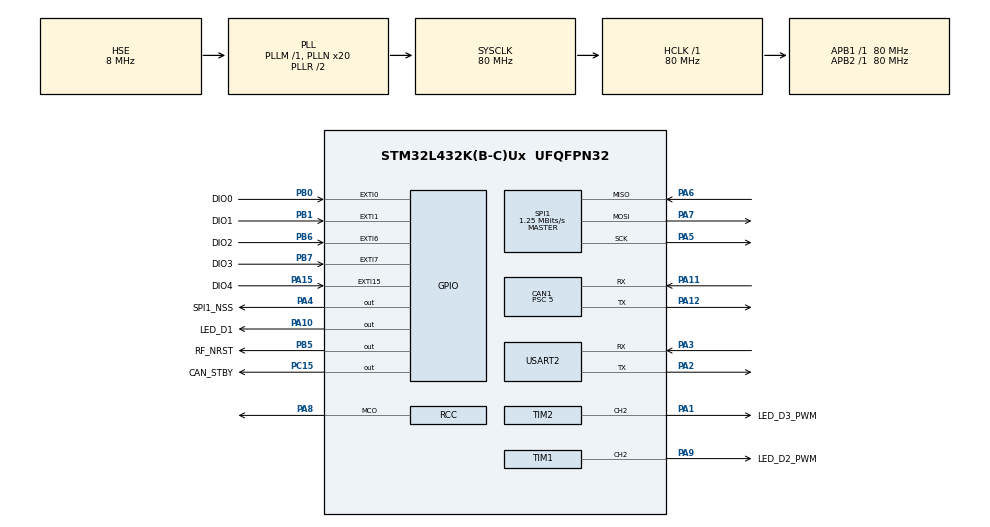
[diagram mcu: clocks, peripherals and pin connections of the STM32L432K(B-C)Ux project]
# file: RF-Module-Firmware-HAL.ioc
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CAN1.BS1=CAN_BS1_11TQ
CAN1.BS2=CAN_BS2_4TQ
CAN1.CalculateBaudRate=1000000
CAN1.CalculateTimeBit=1000
CAN1.CalculateTimeQuantum=62.5
CAN1.Mode=CAN_MODE_NORMAL
CAN1.Prescaler=5
FREERTOS.Tasks01=defaultTask,24,512,StartDefaultTask,Default,NULL,Dynamic,NULL,NULL;CanRxTask,25,256,StartCanRxTask,Default,NULL,Static,CanRxTaskBuffer,CanRxTaskControlBlock;CanRtrTask,26,256,StartCanRtrTask,Default,NULL,Static,CanRtrTaskBuffer,CanRtrTaskControlBlock
FREERTOS.configENABLE_FPU=1
FREERTOS.configUSE_NEWLIB_REENTRANT=1
Mcu.Family=STM32L4
Mcu.Name=STM32L432K(B-C)Ux
Mcu.Package=UFQFPN32
NVIC.PriorityGroup=NVIC_PRIORITYGROUP_4
NVIC.TIM1_UP_TIM16_IRQn=true\:15\:0\:false\:false\:true\:false\:false\:true\:true
NVIC.TimeBase=TIM1_UP_TIM16_IRQn
NVIC.TimeBaseIP=TIM16
PA0.Mode=HSE-External-Clock-Source-for-LittleOrca
PA0.Signal=RCC_CK_IN
PA1.GPIO_Label=LED_D3_PWM
PA1.Signal=S_TIM2_CH2
PA10.GPIO_Label=LED_D1
PA10.Signal=GPIO_Output
PA11.GPIO_PuPd=GPIO_PULLUP
PA11.Mode=CAN_Activate
PA11.Signal=CAN1_RX
PA12.Mode=CAN_Activate
PA12.Signal=CAN1_TX
PA13\ (JTMS-SWDIO).Mode=Serial_Wire
PA13\ (JTMS-SWDIO).Signal=SYS_JTMS-SWDIO
PA14\ (JTCK-SWCLK).Mode=Serial_Wire
PA14\ (JTCK-SWCLK).Signal=SYS_JTCK-SWCLK
PA15\ (JTDI).GPIO_Label=DIO4
PA15\ (JTDI).Signal=GPXTI15
PA2.Mode=Asynchronous
PA2.Signal=USART2_TX
PA3.Mode=Asynchronous
PA3.Signal=USART2_RX
PA4.GPIO_Label=SPI1_NSS
PA4.Signal=GPIO_Output
PA5.Mode=Full_Duplex_Master
PA5.Signal=SPI1_SCK
PA6.Mode=Full_Duplex_Master
PA6.Signal=SPI1_MISO
PA7.Mode=Full_Duplex_Master
PA7.Signal=SPI1_MOSI
PA8.Mode=Clock-out
PA8.Signal=RCC_MCO
PA9.GPIO_Label=LED_D2_PWM
PA9.Signal=S_TIM1_CH2
PB0.GPIO_Label=DIO0
PB0.Signal=GPXTI0
PB1.GPIO_Label=DIO1
PB1.Signal=GPXTI1
PB5.GPIO_Label=RF_NRST
PB5.Signal=GPIO_Output
PB6.GPIO_Label=DIO2
PB6.Signal=GPXTI6
PB7.GPIO_Label=DIO3
PB7.Signal=GPXTI7
PC15-OSC32_OUT\ (PC15).GPIO_Label=CAN_STBY
PC15-OSC32_OUT\ (PC15).Signal=GPIO_Output
ProjectManager.HeapSize=0x200
ProjectManager.StackSize=0x400
ProjectManager.TargetToolchain=STM32CubeIDE
RCC.ADCFreq_Value=32000000
RCC.AHBFreq_Value=80000000
RCC.APB1Freq_Value=80000000
RCC.APB1TimFreq_Value=80000000
RCC.APB2Freq_Value=80000000
RCC.APB2TimFreq_Value=80000000
RCC.CortexFreq_Value=80000000
RCC.EnbaleCSS=true
RCC.HCLKFreq_Value=80000000
RCC.HSE_VALUE=8000000
RCC.HSI48_VALUE=48000000
RCC.HSI_VALUE=16000000
RCC.LSE_VALUE=32768
RCC.LockedElements=AHBOutput
RCC.MSI_VALUE=4000000
RCC.PLLN=20
RCC.PLLSourceVirtual=RCC_PLLSOURCE_HSE
RCC.RCC_MCODiv=RCC_MCODIV_16
RCC.SYSCLKFreq_VALUE=80000000
RCC.SYSCLKSource=RCC_SYSCLKSOURCE_PLLCLK
RCC.USBFreq_Value=32000000
RCC.VCOOutputFreq_Value=160000000
SH.S_TIM1_CH2.0=TIM1_CH2,PWM Generation2 CH2
SH.S_TIM2_CH2.0=TIM2_CH2,PWM Generation2 CH2
SPI1.BaudRatePrescaler=SPI_BAUDRATEPRESCALER_64
SPI1.CalculateBaudRate=1.25 MBits/s
SPI1.DataSize=SPI_DATASIZE_8BIT
SPI1.Direction=SPI_DIRECTION_2LINES
SPI1.Mode=SPI_MODE_MASTER
SPI1.VirtualType=VM_MASTER
TIM1.AutoReloadPreload=TIM_AUTORELOAD_PRELOAD_ENABLE
TIM1.Channel-PWM\ Generation2\ CH2=TIM_CHANNEL_2
TIM1.Period=100-1
TIM1.Prescaler=8000-1
TIM2.AutoReloadPreload=TIM_AUTORELOAD_PRELOAD_ENABLE
TIM2.Channel-PWM\ Generation2\ CH2=TIM_CHANNEL_2
TIM2.Period=100-1
TIM2.Prescaler=8000-1
USART2.VirtualMode-Asynchronous=VM_ASYNC
VP_FREERTOS_VS_CMSIS_V2.Mode=CMSIS_V2
VP_SYS_VS_tim16.Mode=TIM16
VP_TIM1_VS_ClockSourceINT.Mode=Internal
VP_TIM2_VS_ClockSourceINT.Mode=Internal
board=custom

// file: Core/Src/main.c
/* USER CODE BEGIN Header */
/**
 ******************************************************************************
 * @file           : main.c
 * @brief          : Main program body
 ******************************************************************************
 * @attention
 *
 * Copyright (c) 2023 STMicroelectronics.
 * All rights reserved.
 *
 * This software is licensed under terms that can be found in the LICENSE file
 * in the root directory of this software component.
 * If no LICENSE file comes with this software, it is provided AS-IS.
 *
 ******************************************************************************
 */
/* USER CODE END Header */
#include "main.h"
#include "cmsis_os.h"
#include "can.h"
#include "spi.h"
#include "tim.h"
#include "usart.h"
#include "gpio.h"

/* USER CODE BEGIN Includes */
#include <stdbool.h>
#include "rf-rfm95.h"
#include "debug-log.h"
/* USER CODE END Includes */

/* USER CODE BEGIN PV */
//CAN_RxHeaderTypeDef RxHeader;
//uint8_t TxData[8];
//uint8_t RxData[8];
/* USER CODE END PV */

void SystemClock_Config(void);
void MX_FREERTOS_Init(void);
/* USER CODE BEGIN PFP */
int _write(int file, char *ptr, int len);
/* USER CODE END PFP */

/* USER CODE BEGIN 0 */
int _write(int file, char *ptr, int len) {
	HAL_UART_Transmit(&huart2, (uint8_t*) ptr, len, HAL_MAX_DELAY);
	return len;
}

/* USER CODE END 0 */

int main(void)
{

  /* MCU Configuration--------------------------------------------------------*/

  /* Reset of all peripherals, Initializes the Flash interface and the Systick. */
  HAL_Init();

  /* Configure the system clock */
  SystemClock_Config();

  /* Initialize all configured peripherals */
  MX_GPIO_Init();
  MX_USART2_UART_Init();
  MX_CAN1_Init();
  MX_TIM1_Init();
  MX_TIM2_Init();
  MX_SPI1_Init();
  /* USER CODE BEGIN 2 */
//  CAN_Initialize();

  /* USER CODE END 2 */

  /* Init scheduler */
  osKernelInitialize();

  /* Call init function for freertos objects (in cmsis_os2.c) */
  MX_FREERTOS_Init();

  /* Start scheduler */
  osKernelStart();

  /* We should never get here as control is now taken by the scheduler */

  /* Infinite loop */
	while (1) {

	}
}

void SystemClock_Config(void)
{
  RCC_OscInitTypeDef RCC_OscInitStruct = {0};
  RCC_ClkInitTypeDef RCC_ClkInitStruct = {0};

  /** Configure the main internal regulator output voltage
  */
  if (HAL_PWREx_ControlVoltageScaling(PWR_REGULATOR_VOLTAGE_SCALE1) != HAL_OK)
  {
    Error_Handler();
  }

  /** Initializes the RCC Oscillators according to the specified parameters
  * in the RCC_OscInitTypeDef structure.
  */
  RCC_OscInitStruct.OscillatorType = RCC_OSCILLATORTYPE_HSE;
  RCC_OscInitStruct.HSEState = RCC_HSE_BYPASS;
  RCC_OscInitStruct.PLL.PLLState = RCC_PLL_ON;
  RCC_OscInitStruct.PLL.PLLSource = RCC_PLLSOURCE_HSE;
  RCC_OscInitStruct.PLL.PLLM = 1;
  RCC_OscInitStruct.PLL.PLLN = 20;
  RCC_OscInitStruct.PLL.PLLP = RCC_PLLP_DIV7;
  RCC_OscInitStruct.PLL.PLLQ = RCC_PLLQ_DIV2;
  RCC_OscInitStruct.PLL.PLLR = RCC_PLLR_DIV2;
  if (HAL_RCC_OscConfig(&RCC_OscInitStruct) != HAL_OK)
  {
    Error_Handler();
  }

  /** Initializes the CPU, AHB and APB buses clocks
  */
  RCC_ClkInitStruct.ClockType = RCC_CLOCKTYPE_HCLK|RCC_CLOCKTYPE_SYSCLK
                              |RCC_CLOCKTYPE_PCLK1|RCC_CLOCKTYPE_PCLK2;
  RCC_ClkInitStruct.SYSCLKSource = RCC_SYSCLKSOURCE_PLLCLK;
  RCC_ClkInitStruct.AHBCLKDivider = RCC_SYSCLK_DIV1;
  RCC_ClkInitStruct.APB1CLKDivider = RCC_HCLK_DIV1;
  RCC_ClkInitStruct.APB2CLKDivider = RCC_HCLK_DIV1;

  if (HAL_RCC_ClockConfig(&RCC_ClkInitStruct, FLASH_LATENCY_4) != HAL_OK)
  {
    Error_Handler();
  }
  HAL_RCC_MCOConfig(RCC_MCO1, RCC_MCO1SOURCE_SYSCLK, RCC_MCODIV_16);

  /** Enables the Clock Security System
  */
  HAL_RCC_EnableCSS();
}

void HAL_TIM_PeriodElapsedCallback(TIM_HandleTypeDef *htim)
{
  if (htim->Instance == TIM16) {
    HAL_IncTick();
  }
}

void Error_Handler(void)
{
  /* USER CODE BEGIN Error_Handler_Debug */
	/* User can add his own implementation to report the HAL error return state */
	__disable_irq();
	while (1) {
		for (int i = 0; i < HARD_FAULT_LED_DELAY; i++)
			;
		//HAL_GPIO_WritePin(GPIOA, LED_D1_PWM_Pin, GPIO_PIN_SET);
		for (int i = 0; i < HARD_FAULT_LED_DELAY; i++)
			;
		//HAL_GPIO_WritePin(GPIOA, LED_D2_Pin, GPIO_PIN_SET);
		for (int i = 0; i < HARD_FAULT_LED_DELAY; i++)
			;
		//HAL_GPIO_WritePin(GPIOA, LED_D3_Pin, GPIO_PIN_SET);
		for (int i = 0; i < HARD_FAULT_LED_DELAY; i++)
			;
		//HAL_GPIO_WritePin(GPIOA, LED_D1_Pin, GPIO_PIN_RESET);
		for (int i = 0; i < HARD_FAULT_LED_DELAY; i++)
			;
		//HAL_GPIO_WritePin(GPIOA, LED_D2_Pin, GPIO_PIN_RESET);
		for (int i = 0; i < HARD_FAULT_LED_DELAY; i++)
			;
		//HAL_GPIO_WritePin(GPIOA, LED_D3_Pin, GPIO_PIN_RESET);

	}
  /* USER CODE END Error_Handler_Debug */
}

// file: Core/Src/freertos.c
/* USER CODE BEGIN Header */
/**
 ******************************************************************************
 * File Name          : freertos.c
 * Description        : Code for freertos applications
 ******************************************************************************
 * @attention
 *
 * Copyright (c) 2025 STMicroelectronics.
 * All rights reserved.
 *
 * This software is licensed under terms that can be found in the LICENSE file
 * in the root directory of this software component.
 * If no LICENSE file comes with this software, it is provided AS-IS.
 *
 ******************************************************************************
 */
/* USER CODE END Header */

#include "FreeRTOS.h"
#include "task.h"
#include "main.h"
#include "cmsis_os.h"

/* USER CODE BEGIN Includes */
#include <stdbool.h>
#include "rf-rfm95.h"
#include "debug-log.h"
#include "spi.h"
#include "lucy-can-ids.h"
#include "can.h"
/* USER CODE END Includes */

typedef StaticTask_t osStaticThreadDef_t;

/* Definitions for defaultTask */
osThreadId_t defaultTaskHandle;
const osThreadAttr_t defaultTask_attributes = {
  .name = "defaultTask",
  .stack_size = 512 * 4,
  .priority = (osPriority_t) osPriorityNormal,
};
/* Definitions for CanRxTask */
osThreadId_t CanRxTaskHandle;
uint32_t CanRxTaskBuffer[ 256 ];
osStaticThreadDef_t CanRxTaskControlBlock;
const osThreadAttr_t CanRxTask_attributes = {
  .name = "CanRxTask",
  .cb_mem = &CanRxTaskControlBlock,
  .cb_size = sizeof(CanRxTaskControlBlock),
  .stack_mem = &CanRxTaskBuffer[0],
  .stack_size = sizeof(CanRxTaskBuffer),
  .priority = (osPriority_t) osPriorityNormal1,
};
/* Definitions for CanRtrTask */
osThreadId_t CanRtrTaskHandle;
uint32_t CanRtrTaskBuffer[ 256 ];
osStaticThreadDef_t CanRtrTaskControlBlock;
const osThreadAttr_t CanRtrTask_attributes = {
  .name = "CanRtrTask",
  .cb_mem = &CanRtrTaskControlBlock,
  .cb_size = sizeof(CanRtrTaskControlBlock),
  .stack_mem = &CanRtrTaskBuffer[0],
  .stack_size = sizeof(CanRtrTaskBuffer),
  .priority = (osPriority_t) osPriorityNormal2,
};

/* USER CODE BEGIN FunctionPrototypes */

typedef struct {
	union {
		struct {
			can_lucy_fc_vi packet_fc;
			can_lucy_motor_vi packet_mtr;
			can_lucy_accel_z_speed packet_z_speed;
		};
		uint8_t packet_raw[8 * 3];
	};
} rf_packet_test;

rf_packet_test test_packet = { 0 };

typedef struct {
	union {
		struct {
			can_lucy_h2_conc packet_h2;
			can_lucy_h2_humidity packet_humd;
			can_lucy_h2_temp packet_temp;
		};
		uint8_t packet_raw[8 * 3];
	};
} rf_packet_test_h2;

rf_packet_test_h2 test_packet_h2 = { 0 };

/* USER CODE END FunctionPrototypes */

void StartDefaultTask(void *argument);
void StartCanRxTask(void *argument);
void StartCanRtrTask(void *argument);

void MX_FREERTOS_Init(void); /* (MISRA C 2004 rule 8.1) */

void MX_FREERTOS_Init(void) {
  /* USER CODE BEGIN Init */
//	set_time(0, 0, 0);
  /* USER CODE END Init */

  /* Create the thread(s) */
  /* creation of defaultTask */
  defaultTaskHandle = osThreadNew(StartDefaultTask, NULL, &defaultTask_attributes);

  /* creation of CanRxTask */
  CanRxTaskHandle = osThreadNew(StartCanRxTask, NULL, &CanRxTask_attributes);

  /* creation of CanRtrTask */
  CanRtrTaskHandle = osThreadNew(StartCanRtrTask, NULL, &CanRtrTask_attributes);

}

void StartDefaultTask(void *argument)
{
  /* USER CODE BEGIN StartDefaultTask */
	//	rfm95_init();
	//	uint8_t version = 0, temp = 0;
	rf_handle_t rfm95 = { .rf_nreset_port = RF_NRST_GPIO_Port, .rf_nreset_pin =
	RF_NRST_Pin, .rf_nss_port = SPI1_NSS_GPIO_Port, .rf_nss_pin =
	SPI1_NSS_Pin, .rf_spi_handle = &hspi1, .rf_delay_func = osDelay,
			.rf_spi_timeout = HAL_MAX_DELAY, .rf_carrier_frequency = 868000000 };

	rf_initialize_radio(&rfm95);
	rf_set_tx_power(&rfm95, 5);
	rf_set_bandwidth(&rfm95, RF_BW_500K);
	rf_set_frequency(&rfm95, 868000000);
	uint8_t testdata = 347u;

	//	rf_set_op_mode(&rfm95, RF_OP_MODE_RX_SINGLE);

	//	rf_listen_implicit(&rfm95, 1);
	//	rf_listen(&rfm95);

	const char test[] = "Hello.78\0";

	uint8_t rec_legth = 0;

	/* Infinite loop */
	for (;;) {
		//osDelay(100);
//		log_info("Sending message %s", test);

		HAL_GPIO_WritePin(LED_D1_GPIO_Port, LED_D1_Pin, GPIO_PIN_SET);
		//rf_initialize_radio(&rfm95);

//		rf_send(&rfm95, test_packet.packet_raw, 24);
		if (rf_send(&rfm95, test_packet_h2.packet_raw, sizeof(test_packet_h2))) {
			log_info("sending RF");
		}
		testdata += 1;
		HAL_GPIO_WritePin(LED_D1_GPIO_Port, LED_D1_Pin, GPIO_PIN_RESET);
		osDelay(100);

	}
  /* USER CODE END StartDefaultTask */
}

/* USER CODE BEGIN Header_StartCanRxTask */
uint32_t TxMailbox;
/**
 * @brief Function implementing the CanRxTask thread.
 * @param argument: Not used
 * @retval None
 */
/* USER CODE END Header_StartCanRxTask */
void StartCanRxTask(void *argument)
{
  /* USER CODE BEGIN StartCanRxTask */

	/* Infinite loop */
	for (;;) {

//		CAN_Transmit(CAN_LUCY_FC_VI, NULL, NULL, CAN_RTR_REMOTE);
//		if (!HAL_CAN_SafeAddTxMessage(NULL, CAN_LUCY_FC_VI, 0, &TxMailbox,
//		CAN_RTR_REMOTE)) {
//			log_info("Sending CAN REQUEST");
//		} else {
//			log_info("CAN TIMED OUT");
//		}
//
//		if (!HAL_CAN_SafeAddTxMessage(NULL, CAN_LUCY_MOTOR_VI, 0, &TxMailbox,
//		CAN_RTR_REMOTE)) {
//			log_info("Sending CAN REQUEST");
//		} else {
//			log_info("CAN TIMED OUT");
//		}

		if (!HAL_CAN_SafeAddTxMessage(NULL, CAN_LUCY_H2_CONC, 0, &TxMailbox,
		CAN_RTR_REMOTE)) {
			//log_info("Sending CAN REQUEST");
		} else {
			log_info("CAN TIMED OUT");
		}

		if (!HAL_CAN_SafeAddTxMessage(NULL, CAN_LUCY_H2_HUMIDITY, 0, &TxMailbox,
		CAN_RTR_REMOTE)) {
			//log_info("Sending CAN REQUEST");
		} else {
			log_info("CAN TIMED OUT");
		}

		if (!HAL_CAN_SafeAddTxMessage(NULL, CAN_LUCY_H2_TEMP, 0, &TxMailbox,
		CAN_RTR_REMOTE)) {
			//log_info("Sending CAN REQUEST");
		} else {
			log_info("CAN TIMED OUT");
		}

//		if (!HAL_CAN_SafeAddTxMessage(NULL, CAN_LUCY_ACCEL_Z_SPEED, 0, &TxMailbox,
//		CAN_RTR_REMOTE)) {
//			log_info("Sending CAN REQUEST");
//		} else {
//			log_info("CAN TIMED OUT");
//		}

//		if (!HAL_CAN_SafeAddTxMessage(NULL, CAN_LUCY_ACCEL_Z_SPEED, 0,
//				&TxMailbox,
//				CAN_RTR_REMOTE)) {
//			log_info("Sending CAN REQUEST");
//		} else {
//			log_info("CAN TIMED OUT");
//		}

		osDelay(500);
	}
  /* USER CODE END StartCanRxTask */
}

void StartCanRtrTask(void *argument)
{
  /* USER CODE BEGIN StartCanRtrTask */
	CAN_Initialize();
	/* Infinite loop */
	uint8_t RxData[8];
	HAL_StatusTypeDef hal_stat;
	CAN_RxHeaderTypeDef RxHeader = { 0 };
	for (;;) {
//		HAL_CAN_GetRxFifoFillLevel(&hcan1, RxFifo);
		hal_stat = HAL_CAN_GetRxMessage(&hcan1, CAN_RX_FIFO0, &RxHeader,
				RxData);
		if (!hal_stat) {
			//log_info("Got message");

			//log_info("0x%x %d RTR: %d", RxHeader.StdId, RxHeader.DLC,
				//	RxHeader.RTR);

//			if (RxHeader.StdId == CAN_LUCY_FC_VI && RxHeader.DLC != 0) {
//
//				memcpy(test_packet.packet_fc.can_raw_lucy_fc_vi, RxData, 8);
//				log_info("Copying 103");
//			}
//
//			if (RxHeader.StdId == CAN_LUCY_MOTOR_VI && RxHeader.DLC != 0) {
//
//				memcpy(test_packet.packet_mtr.can_raw_lucy_motor_vi, RxData, 8);
//				log_info("Copying 102");
//			}

			if (RxHeader.StdId == CAN_LUCY_H2_CONC && RxHeader.DLC != 0) {

				memcpy(test_packet_h2.packet_h2.can_raw_lucy_h2_conc, RxData,
						8);
				//log_info("Copying Conc");
			}

			if (RxHeader.StdId == CAN_LUCY_H2_HUMIDITY && RxHeader.DLC != 0) {

				memcpy(test_packet_h2.packet_humd.can_raw_lucy_h2_humidity,
						RxData, 8);
				//log_info("Copying Humd");
			}

			if (RxHeader.StdId == CAN_LUCY_H2_TEMP && RxHeader.DLC != 0) {

				memcpy(test_packet_h2.packet_temp.can_raw_lucy_h2_temp,
						RxData, 8);
				//log_info("Copying Temp");
			}

//			if (RxHeader.StdId == CAN_LUCY_ACCEL_Z_SPEED && RxHeader.DLC != 0) {
//
//				memcpy(test_packet.packet_z_speed.can_raw_lucy_accel_z_speed,
//						RxData, 8);
//				log_info("Copying 106");
//			}

//			if (RxHeader.StdId == CAN_LUCY_MOTOR_VI && RxHeader.DLC != 0) {
//
//				memcpy(test_packet.packet_mtr.can_raw_lucy_motor_vi, RxData, 8);
//				log_info("Copying 102");
//			}

		}
		osDelay(100);
	}
  /* USER CODE END StartCanRtrTask */
}
